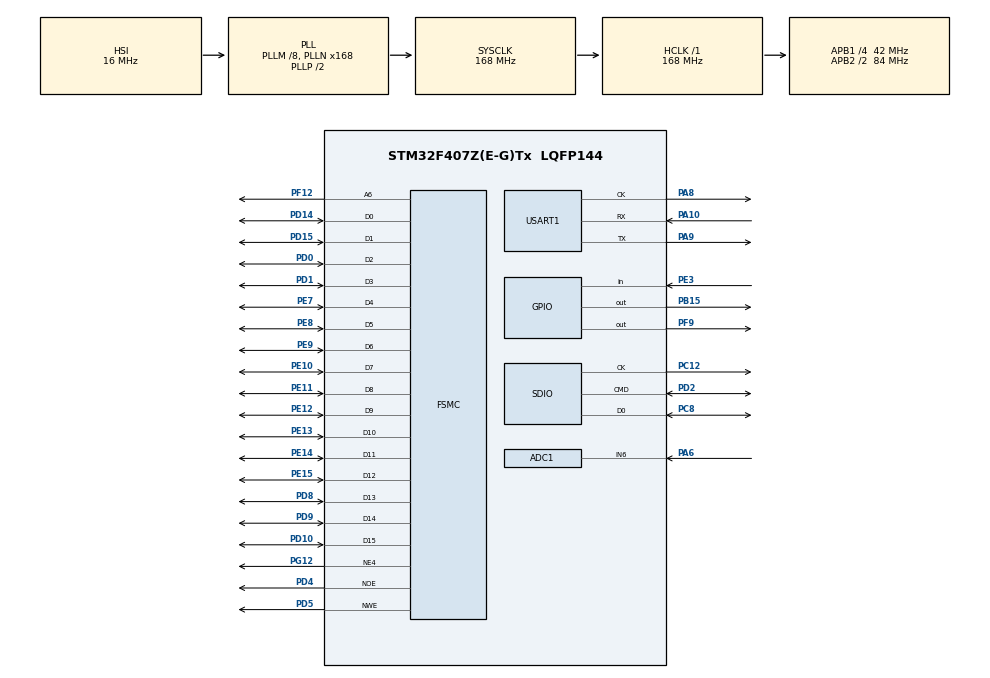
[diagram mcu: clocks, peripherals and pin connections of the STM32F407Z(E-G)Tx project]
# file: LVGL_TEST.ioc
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ADC1.Channel-1\#ChannelRegularConversion=ADC_CHANNEL_6
ADC1.ExternalTrigConv=ADC_EXTERNALTRIGCONV_T3_TRGO
ADC1.NbrOfConversionFlag=1
ADC1.Rank-1\#ChannelRegularConversion=1
ADC1.SamplingTime-1\#ChannelRegularConversion=ADC_SAMPLETIME_3CYCLES
ADC1.master=1
Dma.MEMTOMEM.0.Direction=DMA_MEMORY_TO_MEMORY
Dma.MEMTOMEM.0.FIFOMode=DMA_FIFOMODE_ENABLE
Dma.MEMTOMEM.0.FIFOThreshold=DMA_FIFO_THRESHOLD_FULL
Dma.MEMTOMEM.0.Instance=DMA2_Stream0
Dma.MEMTOMEM.0.MemBurst=DMA_MBURST_SINGLE
Dma.MEMTOMEM.0.MemDataAlignment=DMA_MDATAALIGN_HALFWORD
Dma.MEMTOMEM.0.MemInc=DMA_MINC_ENABLE
Dma.MEMTOMEM.0.Mode=DMA_NORMAL
Dma.MEMTOMEM.0.PeriphBurst=DMA_PBURST_SINGLE
Dma.MEMTOMEM.0.PeriphDataAlignment=DMA_PDATAALIGN_HALFWORD
Dma.MEMTOMEM.0.PeriphInc=DMA_PINC_ENABLE
Dma.MEMTOMEM.0.Priority=DMA_PRIORITY_LOW
Dma.Request0=MEMTOMEM
FATFS.BSP.number=1
FATFS._CODE_PAGE=936
FATFS._USE_LFN=2
FATFS0.BSP.STBoard=false
FATFS0.BSP.api=Unknown
FATFS0.BSP.instance=PE3
FATFS0.BSP.ip=GPIO
FATFS0.BSP.mode=Input
FATFS0.BSP.name=Detect_SDIO
FATFS0.BSP.solution=PE3
FSMC.ExtendedMode1=FSMC_EXTENDED_MODE_ENABLE
Mcu.Family=STM32F4
Mcu.Name=STM32F407Z(E-G)Tx
Mcu.Package=LQFP144
NVIC.ADC_IRQn=true\:0\:0\:false\:false\:true\:true\:true\:true
NVIC.HASH_RNG_IRQn=true\:0\:0\:false\:false\:true\:true\:true\:true
NVIC.PriorityGroup=NVIC_PRIORITYGROUP_4
NVIC.TIM3_IRQn=true\:0\:0\:false\:false\:true\:true\:true\:true
NVIC.USART1_IRQn=true\:0\:0\:false\:false\:true\:true\:true\:true
PA10.Mode=Synchronous
PA10.Signal=USART1_RX
PA13.Mode=Serial_Wire
PA13.Signal=SYS_JTMS-SWDIO
PA14.Mode=Serial_Wire
PA14.Signal=SYS_JTCK-SWCLK
PA6.Signal=ADCx_IN6
PA8.Mode=Synchronous
PA8.Signal=USART1_CK
PA9.Mode=Synchronous
PA9.Signal=USART1_TX
PB15.GPIO_PuPd=GPIO_PULLUP
PB15.GPIO_Speed=GPIO_SPEED_FREQ_VERY_HIGH
PB15.PinState=GPIO_PIN_SET
PB15.Signal=GPIO_Output
PC12.Mode=SD_1_bit
PC12.Signal=SDIO_CK
PC14-OSC32_IN.Mode=LSE-External-Oscillator
PC14-OSC32_IN.Signal=RCC_OSC32_IN
PC15-OSC32_OUT.Mode=LSE-External-Oscillator
PC15-OSC32_OUT.Signal=RCC_OSC32_OUT
PC8.Mode=SD_1_bit
PC8.Signal=SDIO_D0
PD0.Signal=FSMC_D2_DA2
PD1.Signal=FSMC_D3_DA3
PD10.Signal=FSMC_D15_DA15
PD14.Signal=FSMC_D0_DA0
PD15.Signal=FSMC_D1_DA1
PD2.Mode=SD_1_bit
PD2.Signal=SDIO_CMD
PD4.Signal=FSMC_NOE
PD5.Signal=FSMC_NWE
PD8.Signal=FSMC_D13_DA13
PD9.Signal=FSMC_D14_DA14
PE10.Signal=FSMC_D7_DA7
PE11.Signal=FSMC_D8_DA8
PE12.Signal=FSMC_D9_DA9
PE13.Signal=FSMC_D10_DA10
PE14.Signal=FSMC_D11_DA11
PE15.Signal=FSMC_D12_DA12
PE3.GPIO_PuPd=GPIO_PULLUP
PE3.Signal=GPIO_Input
PE7.Signal=FSMC_D4_DA4
PE8.Signal=FSMC_D5_DA5
PE9.Signal=FSMC_D6_DA6
PF12.Signal=FSMC_A6
PF9.GPIO_PuPd=GPIO_PULLUP
PF9.GPIO_Speed=GPIO_SPEED_FREQ_HIGH
PF9.PinState=GPIO_PIN_SET
PF9.Signal=GPIO_Output
PG12.Mode=NorPsramChipSelect4_1
PG12.Signal=FSMC_NE4
PH0-OSC_IN.Mode=HSE-External-Oscillator
PH0-OSC_IN.Signal=RCC_OSC_IN
PH1-OSC_OUT.Mode=HSE-External-Oscillator
PH1-OSC_OUT.Signal=RCC_OSC_OUT
ProjectManager.HeapSize=0x200
ProjectManager.StackSize=0x400
ProjectManager.TargetToolchain=STM32CubeIDE
RCC.48MHZClocksFreq_Value=48000000
RCC.AHBFreq_Value=168000000
RCC.APB1CLKDivider=RCC_HCLK_DIV4
RCC.APB1Freq_Value=42000000
RCC.APB1TimFreq_Value=84000000
RCC.APB2CLKDivider=RCC_HCLK_DIV2
RCC.APB2Freq_Value=84000000
RCC.APB2TimFreq_Value=168000000
RCC.CortexFreq_Value=168000000
RCC.HCLKFreq_Value=168000000
RCC.HSE_VALUE=25000000
RCC.HSI_VALUE=16000000
RCC.PLLM=8
RCC.PLLN=168
RCC.PLLQ=7
RCC.SYSCLKFreq_VALUE=168000000
RCC.SYSCLKSource=RCC_SYSCLKSOURCE_PLLCLK
RCC.VCOOutputFreq_Value=336000000
SDIO.ClockDiv=4
SH.ADCx_IN6.0=ADC1_IN6,IN6
SH.FSMC_A6.0=FSMC_A6,A6_1
SH.FSMC_D0_DA0.0=FSMC_D0,16b-d1
SH.FSMC_D10_DA10.0=FSMC_D10,16b-d1
SH.FSMC_D11_DA11.0=FSMC_D11,16b-d1
SH.FSMC_D12_DA12.0=FSMC_D12,16b-d1
SH.FSMC_D13_DA13.0=FSMC_D13,16b-d1
SH.FSMC_D14_DA14.0=FSMC_D14,16b-d1
SH.FSMC_D15_DA15.0=FSMC_D15,16b-d1
SH.FSMC_D1_DA1.0=FSMC_D1,16b-d1
SH.FSMC_D2_DA2.0=FSMC_D2,16b-d1
SH.FSMC_D3_DA3.0=FSMC_D3,16b-d1
SH.FSMC_D4_DA4.0=FSMC_D4,16b-d1
SH.FSMC_D5_DA5.0=FSMC_D5,16b-d1
SH.FSMC_D6_DA6.0=FSMC_D6,16b-d1
SH.FSMC_D7_DA7.0=FSMC_D7,16b-d1
SH.FSMC_D8_DA8.0=FSMC_D8,16b-d1
SH.FSMC_D9_DA9.0=FSMC_D9,16b-d1
SH.FSMC_NOE.0=FSMC_NOE,Lcd1
SH.FSMC_NWE.0=FSMC_NWE,Lcd1
TIM2.AutoReloadPreload=TIM_AUTORELOAD_PRELOAD_ENABLE
TIM2.Period=10-1
TIM2.Prescaler=84-1
TIM2.TIM_MasterOutputTrigger=TIM_TRGO_UPDATE
TIM3.Period=10-1
TIM3.Prescaler=84-1
TIM3.TIM_MasterOutputTrigger=TIM_TRGO_UPDATE
USART1.VirtualMode=VM_SYNC
VP_FATFS_VS_SDIO.Mode=SDIO
VP_RNG_VS_RNG.Mode=RNG_Activate
VP_TIM2_VS_ClockSourceINT.Mode=Internal
VP_TIM3_VS_ClockSourceINT.Mode=Internal
VP_TIM3_VS_ClockSourceITR.Mode=TriggerSource_ITR0
board=custom

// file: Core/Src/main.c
/* USER CODE BEGIN Header */
/**
  ******************************************************************************
  * @file           : main.c
  * @brief          : Main program body
  ******************************************************************************
  * @attention
  *
  * Copyright (c) 2023 STMicroelectronics.
  * All rights reserved.
  *
  * This software is licensed under terms that can be found in the LICENSE file
  * in the root directory of this software component.
  * If no LICENSE file comes with this software, it is provided AS-IS.
  *
  ******************************************************************************
  */
/* USER CODE END Header */
#include "main.h"
#include "adc.h"
#include "dma.h"
#include "./App/fatfs.h"
#include "rng.h"
#include "sdio.h"
#include "tim.h"
#include "usart.h"
#include "gpio.h"
#include "fsmc.h"

/* USER CODE BEGIN Includes */
#include "lcd.h"
#include "touch.h"
#include "delay.h"
#include "lvgl.h"
#include "lv_port_disp.h"
#include "lv_port_indev.h"
#include "lv_demo_music.h"
#include "gui_guider.h"
#include "events_init.h"
#include "src/lv_100ask_pinyin_ime/lv_100ask_pinyin_ime.h"
#include "widgets_init.h"
#include "Third_Party/FatFs/src/ff.h"

/* USER CODE END Includes */

/* USER CODE BEGIN PTD */
lv_obj_t *scr;
lv_ui guider_ui;
/* USER CODE END PTD */

/* USER CODE BEGIN PV */
void SD_INFO_SHOW(void);
/* USER CODE END PV */

void SystemClock_Config(void);
/* USER CODE BEGIN PFP */
float ADC1_NUM[1024];
/* USER CODE END PFP */

/* USER CODE BEGIN 0 */

FATFS fs;                       /* FatFs 文件系统对象 */
FIL file;                       /* 文件对象 */
FRESULT f_res;                  /* 文件操作结果 */
uint16_t fnum;                      /* 文件成功读写数量 */
BYTE ReadBuffer[1024] = {0};    /* 读缓冲区 */
BYTE WriteBuffer[] =            /* 写缓冲区 */
        "hello word\r\n";
uint16_t file_memory=0;
/* USER CODE END 0 */

int main(void)
{

  /* MCU Configuration--------------------------------------------------------*/

  /* Reset of all peripherals, Initializes the Flash interface and the Systick. */
  HAL_Init();

  /* Configure the system clock */
  SystemClock_Config();

  /* Initialize all configured peripherals */
  MX_GPIO_Init();
  MX_DMA_Init();
  MX_TIM3_Init();
  MX_FSMC_Init();
  MX_ADC1_Init();
  MX_TIM2_Init();
  MX_RNG_Init();
  MX_USART1_Init();
  MX_SDIO_SD_Init();
  MX_FATFS_Init();
  /* USER CODE BEGIN 2 */
    HAL_TIM_Base_Start_IT(&htim3);
    HAL_TIM_Base_Start_IT(&htim2);
    HAL_ADC_Start_IT(&hadc1);//初始化ADC采集
    delay_init(168);//初始化正电原子的延迟函数（参数是根据芯片的晶振）
    lcd_init();//屏幕初始化
    lcd_display_dir(1);//将屏幕设置为横屏
    tp_dev.init();//触屏初始化

/*    lv_init();//lvgl初始化
    lv_port_disp_init();//lvgl接口初始化
    lv_port_indev_init();//lvgl触摸初始化*/

    SD_INFO_SHOW();

    f_res = f_mount(&fs, "0:", 1);
    if(f_res == FR_OK)
    {
        lcd_show_string(500,0,200,40,16,"ok", RED);
    }
  /* USER CODE END 2 */

  /* Infinite loop */
    while (1) {

    }
}

void SystemClock_Config(void)
{
  RCC_OscInitTypeDef RCC_OscInitStruct = {0};
  RCC_ClkInitTypeDef RCC_ClkInitStruct = {0};

  /** Configure the main internal regulator output voltage
  */
  __HAL_RCC_PWR_CLK_ENABLE();
  __HAL_PWR_VOLTAGESCALING_CONFIG(PWR_REGULATOR_VOLTAGE_SCALE1);

  /** Initializes the RCC Oscillators according to the specified parameters
  * in the RCC_OscInitTypeDef structure.
  */
  RCC_OscInitStruct.OscillatorType = RCC_OSCILLATORTYPE_HSI;
  RCC_OscInitStruct.HSIState = RCC_HSI_ON;
  RCC_OscInitStruct.HSICalibrationValue = RCC_HSICALIBRATION_DEFAULT;
  RCC_OscInitStruct.PLL.PLLState = RCC_PLL_ON;
  RCC_OscInitStruct.PLL.PLLSource = RCC_PLLSOURCE_HSI;
  RCC_OscInitStruct.PLL.PLLM = 8;
  RCC_OscInitStruct.PLL.PLLN = 168;
  RCC_OscInitStruct.PLL.PLLP = RCC_PLLP_DIV2;
  RCC_OscInitStruct.PLL.PLLQ = 7;
  if (HAL_RCC_OscConfig(&RCC_OscInitStruct) != HAL_OK)
  {
    Error_Handler();
  }

  /** Initializes the CPU, AHB and APB buses clocks
  */
  RCC_ClkInitStruct.ClockType = RCC_CLOCKTYPE_HCLK|RCC_CLOCKTYPE_SYSCLK
                              |RCC_CLOCKTYPE_PCLK1|RCC_CLOCKTYPE_PCLK2;
  RCC_ClkInitStruct.SYSCLKSource = RCC_SYSCLKSOURCE_PLLCLK;
  RCC_ClkInitStruct.AHBCLKDivider = RCC_SYSCLK_DIV1;
  RCC_ClkInitStruct.APB1CLKDivider = RCC_HCLK_DIV4;
  RCC_ClkInitStruct.APB2CLKDivider = RCC_HCLK_DIV2;

  if (HAL_RCC_ClockConfig(&RCC_ClkInitStruct, FLASH_LATENCY_5) != HAL_OK)
  {
    Error_Handler();
  }
}

void SD_INFO_SHOW(void) {
    HAL_SD_CardInfoTypeDef sd_info;
    HAL_StatusTypeDef sd_state= HAL_SD_GetCardInfo(&hsd,&sd_info);
    HAL_SD_CardCIDTypeDef SD_CID;
    HAL_SD_GetCardCID(&hsd,&SD_CID);

    while(sd_state!=HAL_OK){
        lcd_show_string(10,10,200,40,32,"SD Get info Failed",RED);
        sd_state= HAL_SD_GetCardInfo(&hsd,&sd_info);
    }
    uint64_t cardcap=(uint64_t)(sd_info.LogBlockNbr)*(uint64_t)(sd_info.LogBlockSize)/1024/1024;
    int y=10;
    lcd_show_num(200,y,sd_info.Class,5,16,RED);
    lcd_show_string(10,y,200,40,16,"sd_info.Class:",RED);
    lcd_show_num(200,y+=30,sd_info.BlockNbr,5,16,RED);
    lcd_show_string(10,y,200,40,16,"sd_info.BlockNbr:",RED);
    lcd_show_num(200,y+=30,sd_info.BlockSize,5,16,RED);
    lcd_show_string(10,y,200,40,16,"sd_info.BlockSize:",RED);
    lcd_show_num(200,y+=30,sd_info.CardType,5,16,RED);
    lcd_show_string(10,y,200,40,16,"sd_info.CardType:",RED);
    lcd_show_num(200,y+=30,sd_info.CardVersion,5,16,RED);
    lcd_show_string(10,y,200,40,16,"sd_info.CardVersion:",RED);
    lcd_show_num(200,y+=30,sd_info.LogBlockNbr,5,16,RED);
    lcd_show_string(10,y,200,40,16,"sd_info.LogBlockNbr:",RED);
    lcd_show_num(200,y+=30,sd_info.LogBlockSize,5,16,RED);
    lcd_show_string(10,y,200,40,16,"sd_info.LogBlockSize:",RED);
    lcd_show_num(200,y+=30,sd_info.RelCardAdd,5,16,RED);
    lcd_show_string(10,y,200,40,16,"sd_info.RelCardAdd:",RED);

    lcd_show_num(200,y+=30,cardcap,5,16,RED);
    lcd_show_string(10,y,200,40,16,"cardcap:",RED);
    lcd_show_string(250,y,200,40,16,"MB",RED);

    lcd_show_num(200,y+=30,SD_CID.ManufacturerID,5,16,RED);
    lcd_show_string(10,y,200,40,16,"SD_CID.ManufacturerID", RED);

    lcd_show_num(200,y+=30,SD_CID.CID_CRC,5,16,RED);
    lcd_show_string(10,y,200,40,16,"SD_CID.CRC", RED);

    lcd_show_num(200,y+=30,SD_CID.ManufactDate,5,16,RED);
    lcd_show_string(10,y,200,40,16,"SD_CID.ManufactDate", RED);
}

void Error_Handler(void)
{
    __disable_irq();
    while (1) {
    }
}
